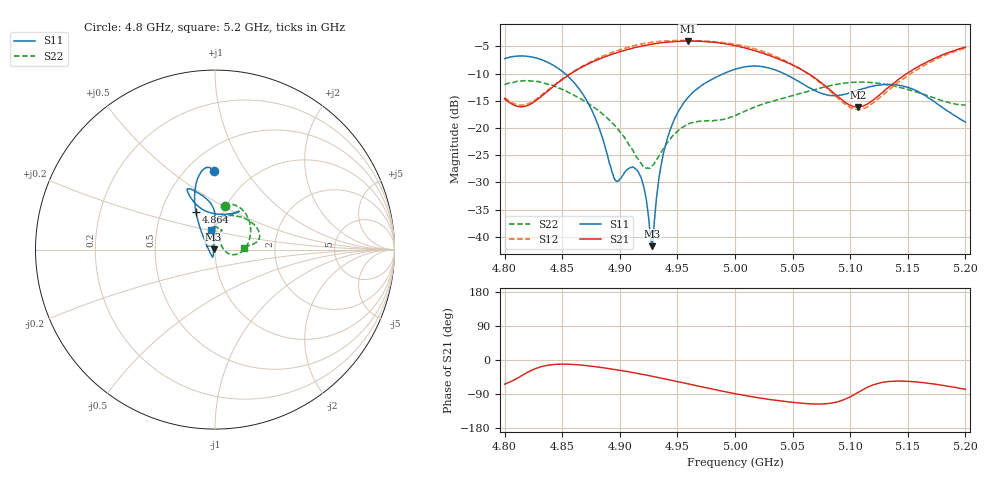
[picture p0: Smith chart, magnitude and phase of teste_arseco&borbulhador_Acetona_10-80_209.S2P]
! Network Analyzer HP8722D
! Hewlett-Packard
! Data name: Linha & Wilkinson
! Saver's name: Rodrigo Anjos
! Comments: Teste da utilização de aquisição
! continua pelo VNA HP8722D
! Time and date: 25/4/2025 17:00
!  Frequency  S11  S21  S12  S22
# HZ  S  MA R 50
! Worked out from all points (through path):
!   401 points, 4.8 GHz to 5.2 GHz, reference 50 ohm
!   highest |S21| = -3.98 dB at 4.959 GHz (marker M1); lowest = -16.2 dB at 5.107 GHz (marker M2)
!   lowest |S11| = -41.7 dB at 4.928 GHz (marker M3), VSWR 1.02, Z = 49.2 + j0.0932 ohm
!   |S11| at or under -10 dB: 4.852 GHz to 4.99 GHz (137.7 MHz wide, 2.8 % of centre); 5.043 GHz to end of sweep
!   |S22| runs from -27.4 to -11.3 dB; largest |S21 - S12| = 1.2
!   S11 on the Smith chart (normalised r, x): 4.8 GHz: 0.67, +0.72; 4.864 GHz: 0.75, +0.33; 5.2 GHz: 0.94, +0.21
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4.8e9  0.4354 90.9  0.1856 -63.9  0.1906 69.8  0.25 77.5
4.82e9  0.455 97.2  0.1611 -32.2  0.1666 98.4  0.2717 61.7
4.843e9  0.3737 106.6  0.2444 -11.7  0.2486 118.8  0.2434 36.9
4.864e9  0.2343 116.9  0.3492 -12.7  0.3521 121.0  0.1898 12.2
4.867e9  0.2112 118.7  0.3624 -13.7  0.3671 120.7  0.1828 8.9
4.88e9  0.1139 128.7  0.4211 -18.2  0.4312 118.4  0.1482 -4.8
4.896e9  0.03321 -168.9  0.4877 -25.2  0.5055 113.2  0.1047 -15.5
4.91e9  0.04324 -108.8  0.5373 -32.5  0.5623 107.2  0.06512 -13.2
4.917e9  0.03749 -105.6  0.5615 -36.4  0.5871 103.6  0.04952 0.3
4.921e9  0.02819 -110.1  0.5724 -38.6  0.5977 101.3  0.04422 12.6
4.926e9  0.01148 -138.0  0.5847 -41.6  0.6112 98.4  0.04248 33.2
4.928e9  0.008182 173.4  0.5905 -42.7  0.6154 97.0  0.04488 41.0
4.934e9  0.03447 101.2  0.6034 -46.6  0.6262 93.4  0.05527 57.3
4.943e9  0.09121 91.4  0.6186 -52.5  0.6348 87.6  0.07735 67.9
4.959e9  0.1899 89.9  0.6327 -62.8  0.6367 77.4  0.1079 70.8
5e9  0.3472 109.3  0.5734 -89.0  0.5903 50.9  0.131 88.2
5.029e9  0.358 115.2  0.4679 -103.8  0.4861 34.2  0.1723 85.8
5.067e9  0.228 105.7  0.3002 -115.9  0.2973 23.6  0.2216 57.1
5.107e9  0.2235 64.7  0.1558 -85.2  0.1476 58.0  0.2638 24.1
5.134e9  0.2515 57.9  0.2405 -56.6  0.226 88.8  0.248 12.4
5.169e9  0.1868 70.5  0.4172 -62.0  0.4007 84.9  0.195 6.8
5.2e9  0.1132 100.8  0.5542 -77.5  0.5437 70.2  0.1622 3.7
